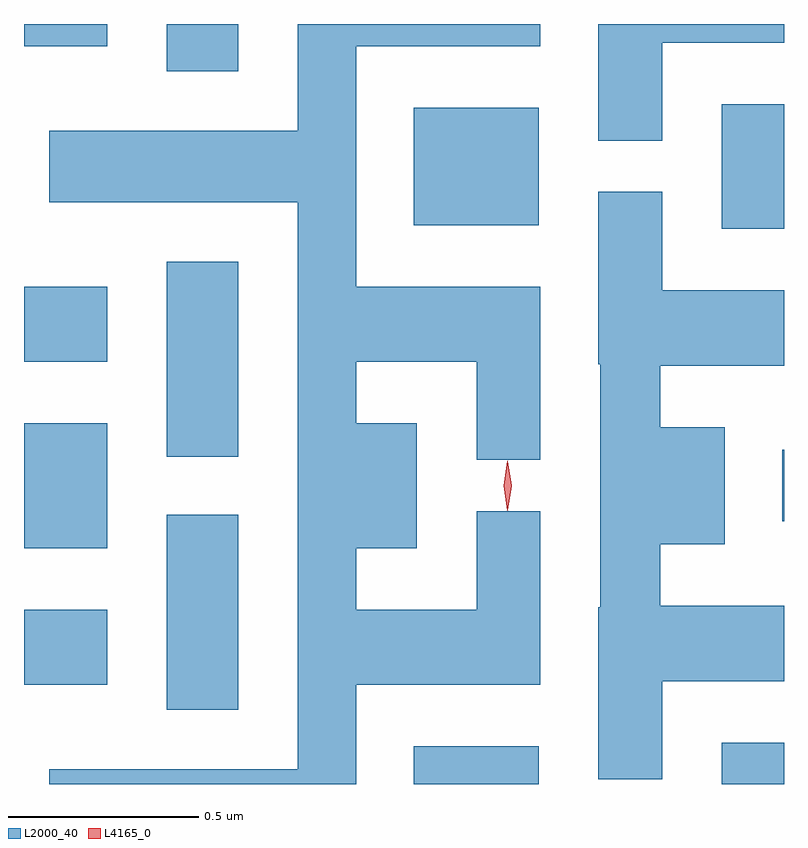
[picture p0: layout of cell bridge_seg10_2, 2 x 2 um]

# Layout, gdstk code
import gdstk
lib = gdstk.Library(unit=1e-6, precision=1e-09)
def R(c, l, rs):  # rectangles x0, y0, x1, y1
    for r in rs: c.add(gdstk.rectangle(r[:2], r[2:], *l))
def P(c, l, *ps):  # polygons
    for p in ps: c.add(gdstk.Polygon(p, *l))
L2000_40 = (2000, 40)
L4165_0 = (4165, 0)

bridge_seg10_2 = lib.new_cell('bridge_seg10_2')
R(bridge_seg10_2, L2000_40, [(1912.546,2156.625,1912.874,2156.724), (1913.356,2156.625,1913.52,2156.734), (1911.896,2156.821,1912.084,2157.334), (1911.52,2156.886,1911.739,2157.084), (1911.52,2157.246,1911.739,2157.574), (1913.516,2157.316,1913.52,2157.504), (1911.896,2157.486,1912.084,2157.999), (1911.52,2157.736,1911.739,2157.934), (1913.356,2158.086,1913.52,2158.414), (1912.546,2158.096,1912.874,2158.404), (1911.896,2158.501,1912.084,2158.625), (1911.52,2158.566,1911.739,2158.625)])
P(bridge_seg10_2, L2000_40, [(1912.394,2156.886),(1912.879,2156.886),(1912.879,2157.343),(1912.711,2157.343),(1912.711,2157.084),(1912.394,2157.084),(1912.394,2157.246),(1912.554,2157.246),(1912.554,2157.574),(1912.394,2157.574),(1912.394,2157.736),(1912.711,2157.736),(1912.711,2157.478),(1912.879,2157.478),(1912.879,2157.934),(1912.394,2157.934),(1912.394,2158.566),(1912.879,2158.566),(1912.879,2158.625),(1912.241,2158.625),(1912.241,2158.344),(1911.586,2158.344),(1911.586,2158.156),(1912.241,2158.156),(1912.241,2156.664),(1911.586,2156.664),(1911.586,2156.625),(1912.394,2156.625)],
  [(1913.199,2158.576),(1913.52,2158.576),(1913.52,2158.625),(1913.031,2158.625),(1913.031,2158.318),(1913.199,2158.318)],
  [(1913.199,2156.896),(1913.52,2156.896),(1913.52,2157.094),(1913.194,2157.094),(1913.194,2157.256),(1913.364,2157.256),(1913.364,2157.564),(1913.194,2157.564),(1913.194,2157.726),(1913.52,2157.726),(1913.52,2157.924),(1913.199,2157.924),(1913.199,2158.183),(1913.031,2158.183),(1913.031,2157.73),(1913.036,2157.73),(1913.036,2157.09),(1913.031,2157.09),(1913.031,2156.638),(1913.199,2156.638)])
P(bridge_seg10_2, L4165_0, [(1912.793,2157.344),(1912.792,2157.345),(1912.783,2157.41),(1912.792,2157.475),(1912.793,2157.476),(1912.793,2157.475),(1912.803,2157.41),(1912.793,2157.345)])

lib.write_gds('bridge_seg10_2.gds')
